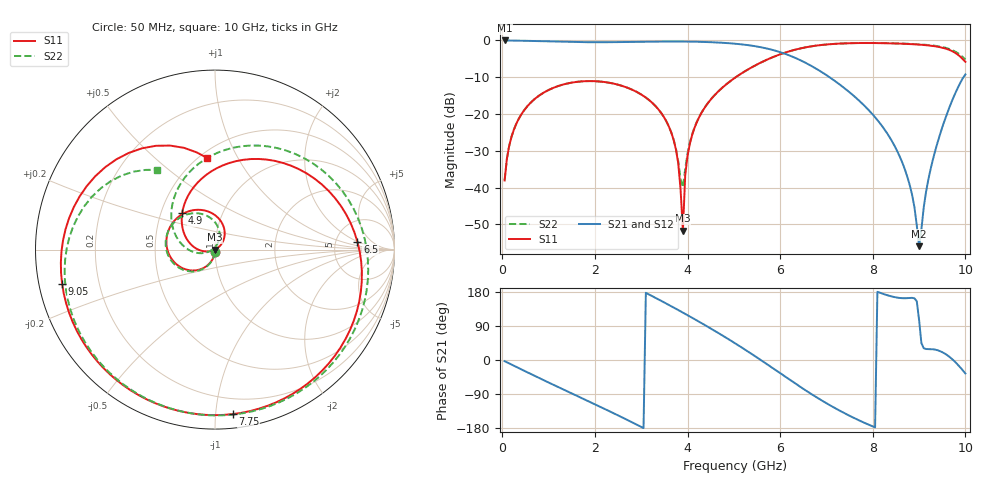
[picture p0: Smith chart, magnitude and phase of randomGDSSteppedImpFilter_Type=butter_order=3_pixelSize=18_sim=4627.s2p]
! freq	dB(S11)	phase(S11)	dB(S12)	phase(S12)
!  dB(S21)	phase(S21)	dB(S22)	phase(S22)
!S-par simulation data
#  GHz  S  DB  R 50
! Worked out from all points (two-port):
!   200 points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, 50 MHz to 10 GHz, reference 50 ohm
!   highest |S21| = -0.01 dB at 50 MHz (marker M1); lowest = -55.9 dB at 9 GHz (marker M2)
!   |S21| within 3 dB of the highest: start of sweep to 5.954 GHz
!   lowest |S11| = -51.7 dB at 3.9 GHz (marker M3), VSWR 1.01, Z = 49.8 - j0.114 ohm
!   |S11| at or under -10 dB: start of sweep to 5.04 GHz
!   |S22| runs from -39.9 to -0.7 dB; largest |S21 - S12| = 0
!   S11 on the Smith chart (normalised r, x): 50 MHz: 1.00, -0.02; 4.9 GHz: 0.64, +0.28; 6.5 GHz: 8.27, +1.96; 7.75 GHz: 0.09, -1.11; 9.05 GHz: 0.07, -0.11; 10 GHz: 0.55, +0.76
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0.05  -38.07 -92.8  -0.01 -3.1  -0.01 -3.1  -38.06 -92.6
0.2  -26.14 -102.5  -0.03 -12.1  -0.03 -12.1  -26.14 -101.9
0.5  -18.52 -121.3  -0.10 -30.0  -0.10 -30.0  -18.52 -119.8
1.75  -11.10 163.8  -0.47 -102.6  -0.47 -102.6  -11.10 169.8
2.65  -12.61 109.2  -0.43 -155.1  -0.43 -155.1  -12.62 120.0
3.4  -19.19 60.5  -0.31 158.1  -0.31 158.1  -19.19 78.1
3.75  -29.66 36.5  -0.29 135.2  -0.29 135.2  -29.43 67.8
3.9  -51.74 -153.8  -0.30 125.1  -0.30 125.1  -39.91 149.6
3.95  -36.65 -157.5  -0.31 121.7  -0.31 121.7  -34.88 -173.8
4.1  -25.70 -168.3  -0.33 111.4  -0.33 111.4  -25.46 -161.8
4.9  -11.29 132.2  -0.76 53.8  -0.76 53.8  -11.29 150.7
5.05  -9.92 120.5  -0.92 42.3  -0.92 42.3  -9.92 139.7
5.65  -5.60 72.5  -2.02 -5.6  -2.02 -5.6  -5.62 92.3
6.5  -2.00 3.2  -5.77 -76.1  -5.77 -76.1  -2.01 20.4
6.7  -1.55 -12.3  -7.11 -91.9  -7.11 -91.9  -1.55 4.2
7.75  -0.71 -83.9  -16.90 -161.9  -16.90 -161.9  -0.69 -70.4
8.35  -0.78 -120.7  -26.02 169.6  -26.02 169.6  -0.74 -107.0
8.8  -0.98 -149.7  -39.40 163.8  -39.40 163.8  -0.92 -134.4
9  -1.14 -163.8  -55.92 105.8  -55.92 105.8  -1.05 -147.3
9.05  -1.18 -167.5  -51.38 44.6  -51.38 44.6  -1.09 -150.6
9.4  -1.71 163.3  -27.69 25.7  -27.69 25.7  -1.55 -176.3
10  -5.81 94.9  -9.25 -35.6  -9.25 -35.6  -5.17 126.2
